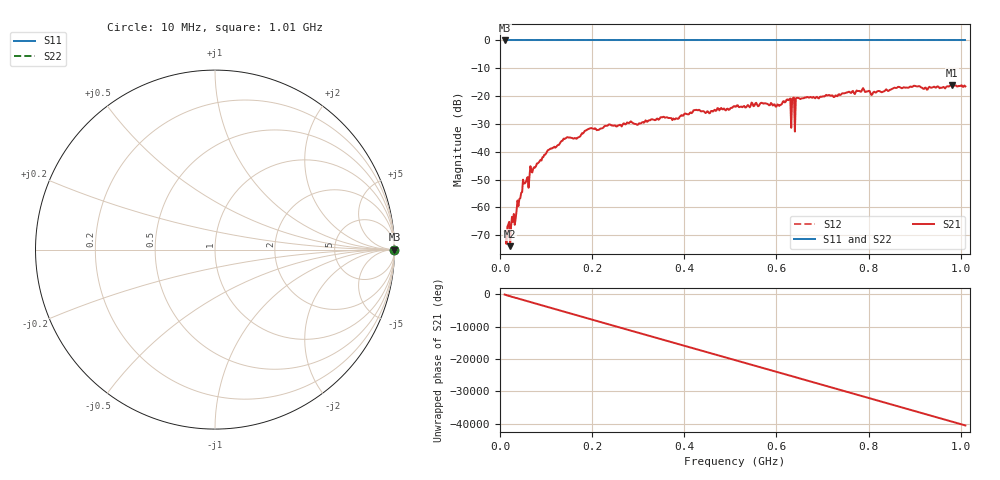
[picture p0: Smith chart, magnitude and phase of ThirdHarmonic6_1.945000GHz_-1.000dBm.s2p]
! 8/16/2025 11:25:44 PM
! C:\ANRITSUVNA\TEMP\TEMP.S2P
! CHANNEL.1
! TR.MEASUREMENT
! RAW.DATA
! RF.CORRECTION.OFF
! AVERAGING.OFF
! IF.BANDWIDTH: 5KHZ
! SWEEPTYPE:  FREQ.SWEEP(Linear)
! Reference Plane Port Info
! PORT:  PORT1  PORT2
! DISTANCE:  0  m  0  m
! TIME:  0  s  0  s
! PHASE.OFFSET:  0  deg.  0  deg.
! LOSS:  0  dB  0  dB
! REF.LOSS:  0  dB  0  dB
! REF.FREQ:  0  Hz  0  Hz
! Power Info
! POWER:  -20  dBm  -20  dBm
! EFF.POWER:  -20  dBm  -20  dBm
! SOURCE.ATTEN:  0  dB  0  dB
! TEST.ATTEN:  0  dB  0  dB
# GHZ S RI R 50.0
! FREQ.GHZ  S11RE  S11IM  S21RE  S21IM  S12RE  S12IM  S22RE  S22IM
!; PortSelection: Port_12
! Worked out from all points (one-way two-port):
!   501 points, 10 MHz to 1.01 GHz, reference 50 ohm
!   highest |S21| = -16.02 dB at 980 MHz (marker M1); lowest = -74.0 dB at 22 MHz (marker M2)
!   lowest |S11| = 0.0 dB at 10 MHz (marker M3)
!   |S11| at or under -10 dB: nowhere
!   |S22| runs from 0.0 to 0.0 dB; largest |S21 - S12| = 1.2
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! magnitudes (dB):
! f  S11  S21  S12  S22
! 10 MHz  0.0  -68.7  0.0  0.0
! 22 MHz  0.0  -74.0  0.0  0.0
! 32 MHz  0.0  -66.3  0.0  0.0
! 50 MHz  0.0  -50.1  0.0  0.0
! 70 MHz  0.0  -47.5  0.0  0.0
! 106 MHz  0.0  -39.3  0.0  0.0
! 178 MHz  0.0  -33.4  0.0  0.0
! 196 MHz  0.0  -31.6  0.0  0.0
! 344 MHz  0.0  -28.5  0.0  0.0
! 510 MHz  0.0  -23.8  0.0  0.0
! 602 MHz  0.0  -23.0  0.0  0.0
! 626 MHz  0.0  -21.5  0.0  0.0
! 628 MHz  0.0  -21.1  0.0  0.0
! 634 MHz  0.0  -21.0  0.0  0.0
! 636 MHz  0.0  -20.7  0.0  0.0
! 638 MHz  0.0  -20.5  0.0  0.0
! 644 MHz  0.0  -20.7  0.0  0.0
! 646 MHz  0.0  -20.6  0.0  0.0
! 678 MHz  0.0  -20.6  0.0  0.0
! 844 MHz  0.0  -18.0  0.0  0.0
! 980 MHz  0.0  -16.0  0.0  0.0
! 1.01 GHz  0.0  -16.5  0.0  0.0
